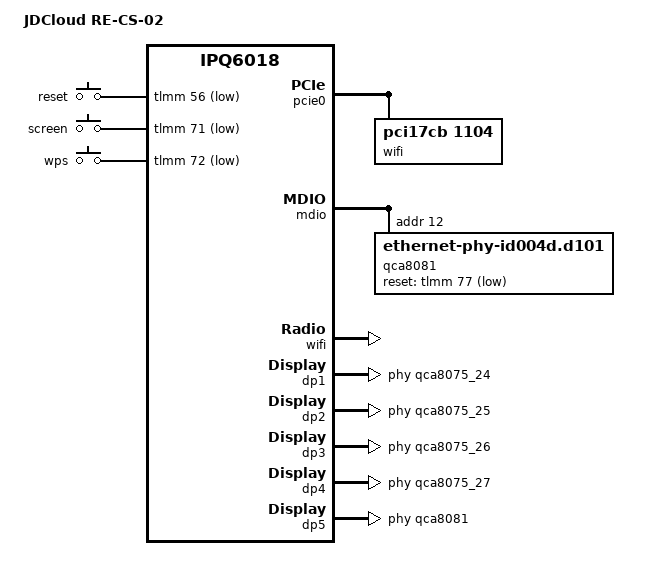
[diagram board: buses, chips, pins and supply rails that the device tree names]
// SPDX-License-Identifier: GPL-2.0-or-later OR MIT

/dts-v1/;

#include "ipq6010-re-cs.dtsi"

/ {
	model = "JDCloud RE-CS-02";
	compatible = "jdcloud,re-cs-02", "qcom,ipq6018";

	aliases {
		ethernet0 = &dp1;
		ethernet1 = &dp2;
		ethernet2 = &dp3;
		ethernet3 = &dp4;
		ethernet4 = &dp5;
	};

	keys {
		compatible = "gpio-keys";

		reset {
			label = "reset";
			linux,code = <KEY_RESTART>;
			gpios = <&tlmm 56 GPIO_ACTIVE_LOW>;
		};

		screen {
			label = "screen";
			linux,code = <BTN_0>;
			gpios = <&tlmm 71 GPIO_ACTIVE_LOW>;
		};

		wps {
			label = "wps";
			linux,code = <KEY_WPS_BUTTON>;
			gpios = <&tlmm 72 GPIO_ACTIVE_LOW>;
		};
	};
};

&tlmm {
	tmp1628_pins: tmp1628-pins {
		pins = "gpio69", "gpio70", "gpio73", "gpio74";
		function = "gpio";
		drive-strength = <8>;
		bias-pull-down;
	};
};

&pcie0 {
	status = "okay";
	perst-gpios = <&tlmm 53 GPIO_ACTIVE_LOW>;

	pcie@0 {
		wifi@0,0 {
			status = "okay";
			compatible = "pci17cb,1104";
			qcom,ath11k-fw-memory-mode = <1>;
			qcom,ath11k-calibration-variant = "JDC-RE-CS-02";
			reg = <0x00010000 0 0 0 0>;
		};
	};
};

&mdio {
	qca8081: ethernet-phy@12 {
		compatible = "ethernet-phy-id004d.d101";
		reg = <12>;
		reset-deassert-us = <10000>;
		reset-gpios = <&tlmm 77 GPIO_ACTIVE_LOW>;
	};
};

&switch {
	switch_lan_bmp = <(ESS_PORT1 | ESS_PORT2 | ESS_PORT3 | ESS_PORT4)>;
	switch_wan_bmp = <ESS_PORT5>;
	switch_mac_mode = <MAC_MODE_PSGMII>;
	switch_mac_mode1 = <MAC_MODE_SGMII_PLUS>;

	qcom,port_phyinfo {
		port@5 {
			port_id = <5>;
			phy_address = <12>;
			port_mac_sel = "QGMAC_PORT";
		};
	};
};

&wifi {
	status = "okay";
	qcom,ath11k-fw-memory-mode = <1>;
	qcom,ath11k-calibration-variant = "JDC-RE-CS-02";
};

&dp1 {
	status = "okay";
	phy-handle = <&qca8075_24>;
	label = "lan1";
};

&dp2 {
	status = "okay";
	phy-handle = <&qca8075_25>;
	label = "lan2";
};

&dp3 {
	status = "okay";
	phy-handle = <&qca8075_26>;
	label = "lan3";
};

&dp4 {
	status = "okay";
	phy-handle = <&qca8075_27>;
	label = "lan4";
};

&dp5 {
	status = "okay";
	phy-handle = <&qca8081>;
	label = "wan";
};

&edma {
	status = "okay";
};
